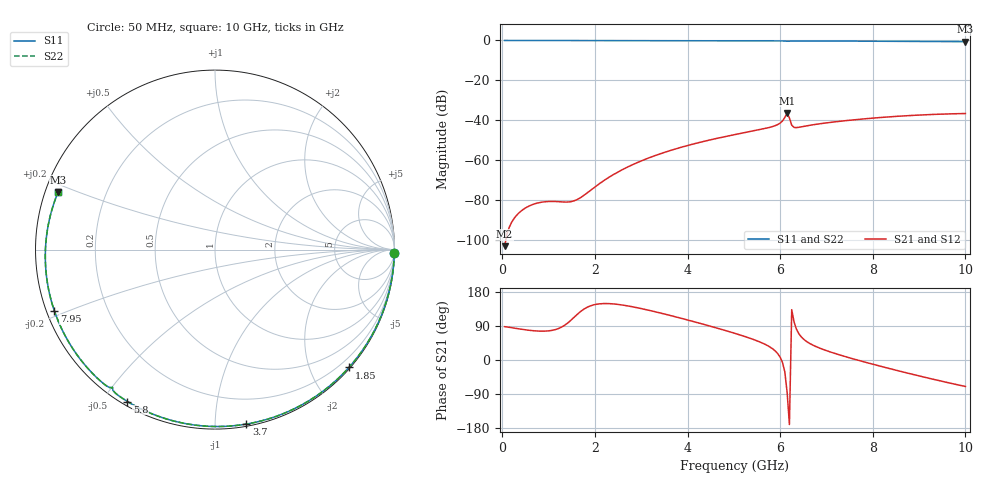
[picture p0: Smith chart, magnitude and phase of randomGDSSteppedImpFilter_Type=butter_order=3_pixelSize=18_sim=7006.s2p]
! freq	dB(S11)	phase(S11)	dB(S12)	phase(S12)
!  dB(S21)	phase(S21)	dB(S22)	phase(S22)
!S-par simulation data
#  GHz  S  DB  R 50
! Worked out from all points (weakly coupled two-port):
!   200 points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, 50 MHz to 10 GHz, reference 50 ohm
!   highest |S21| = -36.30 dB at 6.15 GHz (marker M1); lowest = -103.1 dB at 50 MHz (marker M2)
!   lowest |S11| = -0.6 dB at 10 GHz (marker M3), VSWR 28.05, Z = 1.84 + j8.87 ohm
!   |S11| at or under -10 dB: nowhere
!   |S22| runs from -0.6 to 0.0 dB; largest |S21 - S12| = 0
!   S11 on the Smith chart (normalised r, x): 50 MHz: open; 1.85 GHz: 0.02, -2.65; 3.7 GHz: 0.01, -1.19; 5.8 GHz: 0.02, -0.58; 7.95 GHz: 0.02, -0.18; 10 GHz: 0.04, +0.18
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0.05  -0.00 -1.1  -103.10 87.9  -103.10 87.9  -0.00 -1.1
0.8  -0.02 -18.1  -81.27 76.2  -81.27 76.2  -0.02 -18.1
1.55  -0.04 -34.8  -80.38 112.6  -80.38 112.6  -0.04 -34.8
1.75  -0.05 -39.2  -77.83 133.2  -77.83 133.2  -0.05 -39.2
1.85  -0.05 -41.4  -76.10 140.1  -76.10 140.1  -0.05 -41.4
2.2  -0.06 -48.9  -70.13 149.0  -70.13 149.0  -0.06 -48.9
2.55  -0.07 -56.3  -65.27 145.8  -65.27 145.8  -0.07 -56.3
3.4  -0.10 -73.8  -56.89 124.4  -56.89 124.4  -0.10 -73.8
3.7  -0.11 -79.9  -54.65 115.2  -54.65 115.2  -0.11 -79.9
5.05  -0.16 -105.9  -47.06 69.3  -47.06 69.3  -0.16 -105.9
5.8  -0.20 -120.0  -43.39 32.7  -43.39 32.7  -0.20 -120.0
6  -0.22 -123.8  -41.42 7.4  -41.42 7.4  -0.22 -123.8
6.05  -0.24 -124.8  -40.37 -6.4  -40.37 -6.4  -0.24 -124.8
6.15  -0.39 -126.7  -36.30 -84.6  -36.30 -84.6  -0.39 -126.7
6.2  -0.37 -126.6  -38.83 -170.3  -38.83 -170.3  -0.37 -126.6
6.25  -0.28 -127.5  -42.48 132.8  -42.48 132.8  -0.28 -127.5
6.3  -0.26 -128.6  -43.58 100.6  -43.58 100.6  -0.26 -128.6
6.7  -0.27 -136.1  -42.29 39.7  -42.29 39.7  -0.27 -136.1
7.95  -0.37 -159.2  -39.02 -9.5  -39.02 -9.5  -0.37 -159.2
8.35  -0.42 -166.7  -38.30 -22.3  -38.30 -22.3  -0.42 -166.7
9.2  -0.51 176.6  -37.18 -47.8  -37.18 -47.8  -0.51 176.6
10  -0.62 159.9  -36.62 -69.9  -36.62 -69.9  -0.62 159.9
